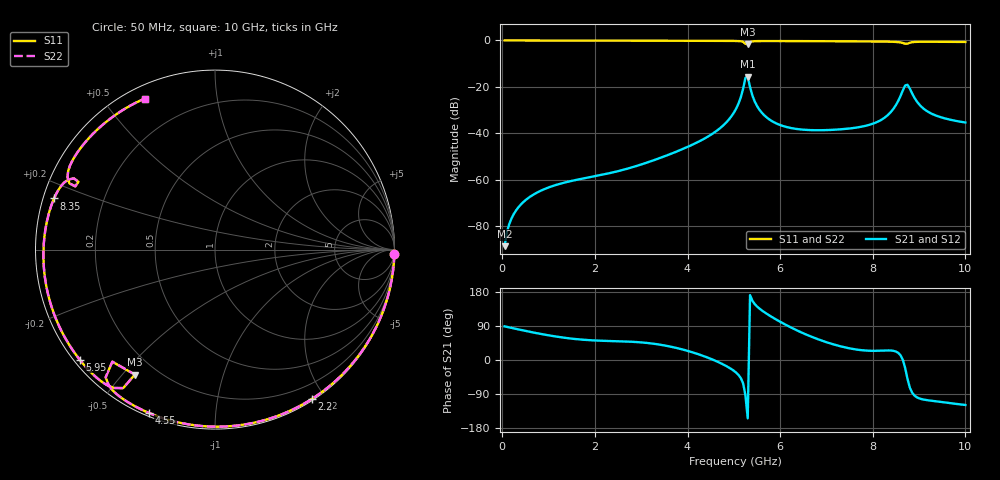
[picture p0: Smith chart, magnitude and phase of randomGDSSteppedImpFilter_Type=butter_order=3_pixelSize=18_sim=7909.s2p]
! freq	dB(S11)	phase(S11)	dB(S12)	phase(S12)
!  dB(S21)	phase(S21)	dB(S22)	phase(S22)
!S-par simulation data
#  GHz  S  DB  R 50
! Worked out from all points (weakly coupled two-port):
!   200 points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, 50 MHz to 10 GHz, reference 50 ohm
!   highest |S21| = -15.67 dB at 5.3 GHz (marker M1); lowest = -88.7 dB at 50 MHz (marker M2)
!   lowest |S11| = -1.6 dB at 5.3 GHz (marker M3), VSWR 10.58, Z = 6.12 - j27 ohm
!   |S11| at or under -10 dB: nowhere
!   |S22| runs from -1.7 to 0.0 dB; largest |S21 - S12| = 0
!   S11 on the Smith chart (normalised r, x): 50 MHz: 1, -85; 2.2 GHz: 0.02, -1.84; 4.55 GHz: 0.01, -0.67; 5.95 GHz: 0.02, -0.36; 8.35 GHz: 0.03, +0.15; 10 GHz: 0.05, +0.64
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0.05  -0.00 -1.4  -88.67 88.7  -88.67 88.7  -0.00 -1.4
0.15  -0.01 -4.0  -79.15 86.0  -79.15 86.0  -0.01 -4.0
0.4  -0.01 -10.7  -70.74 79.4  -70.74 79.4  -0.01 -10.7
0.65  -0.02 -17.3  -66.71 73.1  -66.71 73.1  -0.02 -17.3
1.75  -0.06 -45.7  -59.49 53.4  -59.49 53.4  -0.06 -45.7
2.2  -0.07 -57.0  -57.71 50.6  -57.71 50.6  -0.07 -57.0
3.4  -0.11 -85.7  -50.70 40.5  -50.70 40.5  -0.11 -85.7
4.55  -0.16 -112.0  -40.06 0.7  -40.06 0.7  -0.16 -112.0
5.05  -0.23 -124.3  -29.38 -33.3  -29.38 -33.3  -0.23 -124.3
5.2  -0.57 -130.6  -20.85 -61.4  -20.85 -61.4  -0.57 -130.6
5.25  -1.44 -132.5  -16.15 -93.0  -16.15 -93.0  -1.45 -132.5
5.3  -1.65 -122.7  -15.67 -154.0  -15.67 -154.0  -1.65 -122.7
5.4  -0.41 -126.1  -23.69 156.5  -23.69 156.5  -0.41 -126.1
5.5  -0.28 -129.7  -28.23 141.3  -28.23 141.3  -0.28 -129.7
5.95  -0.25 -140.9  -36.06 104.3  -36.06 104.3  -0.25 -140.9
6.7  -0.30 -157.6  -38.67 60.3  -38.67 60.3  -0.30 -157.6
7.8  -0.41 176.8  -37.00 25.4  -37.00 25.4  -0.41 176.8
8.35  -0.53 162.4  -31.69 25.2  -31.69 25.2  -0.53 162.4
8.75  -1.37 155.6  -19.11 -49.9  -19.11 -49.9  -1.37 155.7
8.95  -0.60 149.9  -26.24 -98.3  -26.24 -98.3  -0.60 149.9
9.15  -0.55 143.1  -30.18 -105.6  -30.18 -105.6  -0.55 143.1
10  -0.65 115.0  -35.37 -118.7  -35.37 -118.7  -0.65 115.0
